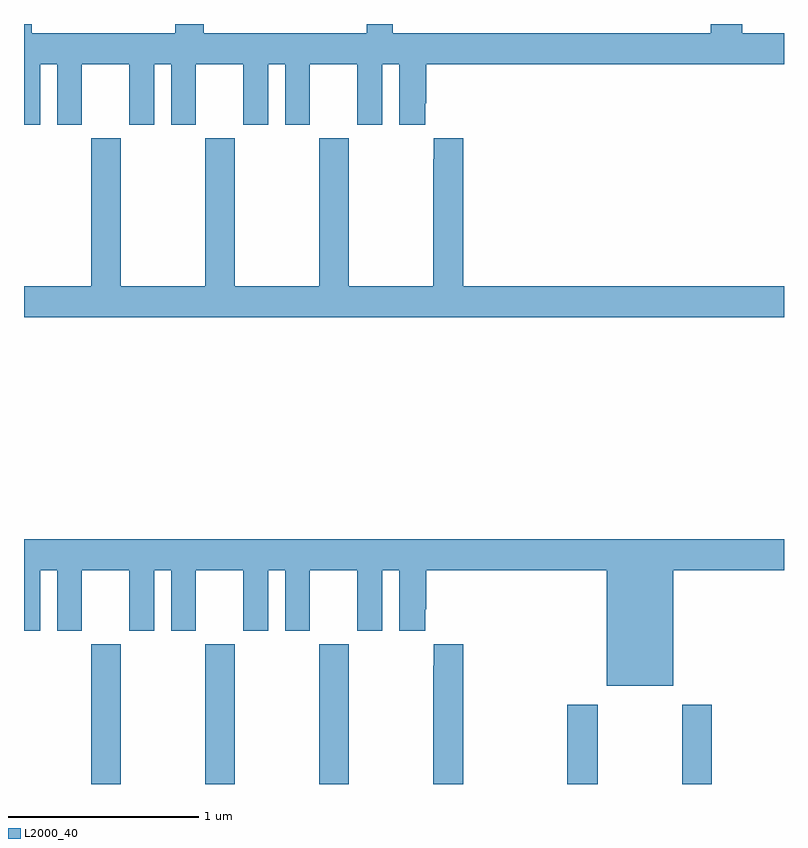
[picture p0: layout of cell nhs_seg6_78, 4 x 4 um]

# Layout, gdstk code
import gdstk
lib = gdstk.Library(unit=1e-6, precision=1e-09)
def R(c, l, rs):  # rectangles x0, y0, x1, y1
    for r in rs: c.add(gdstk.rectangle(r[:2], r[2:], *l))
def A(c, l, x, y, w, h, nx, ny, dx, dy):  # array of equal rectangles
    R(c, l, [(x+i*dx, y+j*dy, x+i*dx+w, y+j*dy+h) for i in range(nx) for j in range(ny)])
def P(c, l, *ps):  # polygons
    for p in ps: c.add(gdstk.Polygon(p, *l))
L2000_40 = (2000, 40)

nhs_seg6_78 = lib.new_cell('nhs_seg6_78')
A(nhs_seg6_78, L2000_40, 113.353, 991.5, 0.155, 0.736, 3, 1, 0.6, 0)
R(nhs_seg6_78, L2000_40, [(115.859,991.5,116.019,991.918), (116.464,991.5,116.619,991.918)])
P(nhs_seg6_78, L2000_40, [(113.086,995.288),(113.174,995.288),(113.174,994.971),(113.305,994.971),(113.305,995.288),(113.555,995.288),(113.555,994.971),(113.686,994.971),(113.686,995.288),(113.774,995.288),(113.774,994.971),(113.905,994.971),(113.905,995.288),(114.155,995.288),(114.155,994.971),(114.286,994.971),(114.286,995.288),(114.374,995.288),(114.374,994.971),(114.505,994.971),(114.505,995.288),(114.755,995.288),(114.755,994.971),(114.886,994.971),(114.886,995.288),(114.974,995.288),(114.974,994.971),(115.111,994.971),(115.111,995.083),(115.118,995.083),(115.118,995.288),(117,995.288),(117,995.452),(116.78,995.452),(116.78,995.5),(116.615,995.5),(116.615,995.452),(114.942,995.452),(114.942,995.5),(114.803,995.5),(114.803,995.452),(113.947,995.452),(113.947,995.5),(113.795,995.5),(113.795,995.452),(113.042,995.452),(113.042,995.5),(113,995.5),(113,994.971),(113.086,994.971)],
  [(117,994.12),(115.313,994.12),(115.313,994.9),(115.157,994.9),(115.157,994.787),(115.153,994.787),(115.153,994.12),(114.708,994.12),(114.708,994.9),(114.553,994.9),(114.553,994.12),(114.108,994.12),(114.108,994.9),(113.953,994.9),(113.953,994.12),(113.508,994.12),(113.508,994.9),(113.353,994.9),(113.353,994.12),(113,994.12),(113,993.956),(117,993.956)],
  [(116.416,992.624),(117,992.624),(117,992.788),(113,992.788),(113,992.307),(113.086,992.307),(113.086,992.624),(113.174,992.624),(113.174,992.307),(113.305,992.307),(113.305,992.624),(113.555,992.624),(113.555,992.307),(113.686,992.307),(113.686,992.624),(113.774,992.624),(113.774,992.307),(113.905,992.307),(113.905,992.624),(114.155,992.624),(114.155,992.307),(114.286,992.307),(114.286,992.624),(114.374,992.624),(114.374,992.307),(114.505,992.307),(114.505,992.624),(114.755,992.624),(114.755,992.307),(114.886,992.307),(114.886,992.624),(114.974,992.624),(114.974,992.307),(115.111,992.307),(115.111,992.419),(115.118,992.419),(115.118,992.624),(116.066,992.624),(116.066,992.018),(116.416,992.018)],
  [(115.313,992.236),(115.157,992.236),(115.157,992.123),(115.153,992.123),(115.153,991.5),(115.313,991.5)])

lib.write_gds('nhs_seg6_78.gds')
